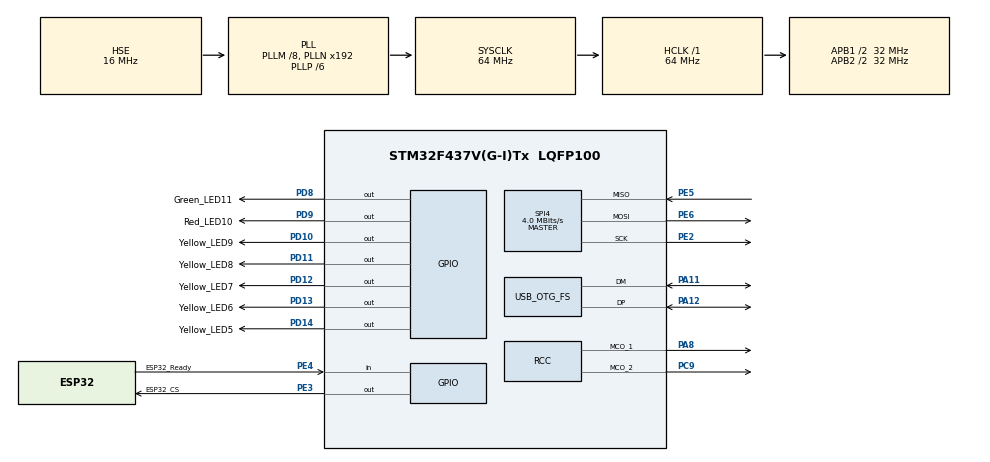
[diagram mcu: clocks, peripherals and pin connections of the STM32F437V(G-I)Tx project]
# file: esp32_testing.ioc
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Mcu.Family=STM32F4
Mcu.Name=STM32F437V(G-I)Tx
Mcu.Package=LQFP100
NVIC.PriorityGroup=NVIC_PRIORITYGROUP_4
NVIC.SPI4_IRQn=true\:0\:0\:false\:false\:true\:true\:true\:true
PA11.Mode=Device_Only
PA11.Signal=USB_OTG_FS_DM
PA12.Mode=Device_Only
PA12.Signal=USB_OTG_FS_DP
PA13.Mode=Trace_Asynchronous_SW
PA13.Signal=SYS_JTMS-SWDIO
PA14.Mode=Trace_Asynchronous_SW
PA14.Signal=SYS_JTCK-SWCLK
PA8.Mode=Clock-out-1
PA8.Signal=RCC_MCO_1
PB3.Mode=Trace_Asynchronous_SW
PB3.Signal=SYS_JTDO-SWO
PC9.Mode=Clock-out-2
PC9.Signal=RCC_MCO_2
PD10.GPIO_Label=Yellow_LED9
PD10.Signal=GPIO_Output
PD11.GPIO_Label=Yellow_LED8
PD11.Signal=GPIO_Output
PD12.GPIO_Label=Yellow_LED7
PD12.Signal=GPIO_Output
PD13.GPIO_Label=Yellow_LED6
PD13.Signal=GPIO_Output
PD14.GPIO_Label=Yellow_LED5
PD14.Signal=GPIO_Output
PD8.GPIO_Label=Green_LED11
PD8.Signal=GPIO_Output
PD9.GPIO_Label=Red_LED10
PD9.Signal=GPIO_Output
PE2.Mode=Full_Duplex_Master
PE2.Signal=SPI4_SCK
PE3.GPIO_Label=ESP32_CS
PE3.GPIO_OutputLevel=GPIO_PIN_SET
PE3.Signal=GPIO_Output
PE4.GPIO_Label=ESP32_Ready
PE4.GPIO_PuPd=GPIO_PULLDOWN
PE4.Signal=GPIO_Input
PE5.Mode=Full_Duplex_Master
PE5.Signal=SPI4_MISO
PE6.Mode=Full_Duplex_Master
PE6.Signal=SPI4_MOSI
PH0/OSC_IN.Mode=HSE-External-Oscillator
PH0/OSC_IN.Signal=RCC_OSC_IN
PH1/OSC_OUT.Mode=HSE-External-Oscillator
PH1/OSC_OUT.Signal=RCC_OSC_OUT
ProjectManager.HeapSize=0x200
ProjectManager.StackSize=0x400
ProjectManager.TargetToolchain=STM32CubeIDE
RCC.48MHZClocksFreq_Value=48000000
RCC.AHBFreq_Value=64000000
RCC.APB1CLKDivider=RCC_HCLK_DIV2
RCC.APB1Freq_Value=32000000
RCC.APB1TimFreq_Value=64000000
RCC.APB2CLKDivider=RCC_HCLK_DIV2
RCC.APB2Freq_Value=32000000
RCC.APB2TimFreq_Value=64000000
RCC.CortexFreq_Value=64000000
RCC.EnbaleCSS=true
RCC.HCLKFreq_Value=64000000
RCC.HSE_VALUE=16000000
RCC.HSI_VALUE=16000000
RCC.LSE_VALUE=32768
RCC.PLLM=8
RCC.PLLP=RCC_PLLP_DIV6
RCC.PLLQ=8
RCC.RCC_MCO1Source=RCC_MCO1SOURCE_HSE
RCC.RCC_MCODiv2=RCC_MCODIV_4
RCC.SYSCLKFreq_VALUE=64000000
RCC.SYSCLKSource=RCC_SYSCLKSOURCE_PLLCLK
RCC.VCOOutputFreq_Value=384000000
SPI4.BaudRatePrescaler=SPI_BAUDRATEPRESCALER_8
SPI4.CalculateBaudRate=4.0 MBits/s
SPI4.Direction=SPI_DIRECTION_2LINES
SPI4.Mode=SPI_MODE_MASTER
SPI4.VirtualType=VM_MASTER
USB_OTG_FS.VirtualMode=Device_Only
board=custom

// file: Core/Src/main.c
/* USER CODE BEGIN Header */
/**
  ******************************************************************************
  * @file           : main.c
  * @brief          : Main program body
  ******************************************************************************
  * @attention
  *
  * Copyright (c) 2026 STMicroelectronics.
  * All rights reserved.
  *
  * This software is licensed under terms that can be found in the LICENSE file
  * in the root directory of this software component.
  * If no LICENSE file comes with this software, it is provided AS-IS.
  *
  ******************************************************************************
  */
/* USER CODE END Header */
#include "main.h"

/* USER CODE BEGIN Includes */
#include <stdio.h>

#include "telemetry_protocol.h"

/* USER CODE END Includes */

/* USER CODE BEGIN PD */
#define ESP32_READY_TIMEOUT_MS  500U
#define ESP32_SPI_TIMEOUT_MS    100U
#define ESP32_PASS_INTERVAL_MS  250U
#define ESP32_FAIL_BLINK_MS     100U

/* The board LEDs are wired active-low. */
#define LED_ON_STATE            GPIO_PIN_RESET
#define LED_OFF_STATE           GPIO_PIN_SET

/* USER CODE END PD */

SPI_HandleTypeDef hspi4;

PCD_HandleTypeDef hpcd_USB_OTG_FS;

/* USER CODE BEGIN PV */
/* These values can be watched live in the STM32CubeIDE debugger. */
volatile int32_t esp32_last_result = -1;
volatile uint32_t esp32_ping_pass_count = 0;
volatile uint32_t esp32_ping_fail_count = 0;
volatile uint32_t esp32_consecutive_passes = 0;
volatile uint32_t esp32_last_hal_spi_error = 0;
volatile uint8_t esp32_last_slave_status = 0xFFU;
volatile uint8_t esp32_last_request[TELEMETRY_FRAME_SIZE];
volatile uint8_t esp32_last_response[TELEMETRY_FRAME_SIZE];

static uint8_t esp32_sequence = 0;
static uint32_t esp32_ping_number = 0;

/* USER CODE END PV */

void SystemClock_Config(void);
static void MX_GPIO_Init(void);
static void MX_SPI4_Init(void);
static void MX_USB_OTG_FS_PCD_Init(void);
/* USER CODE BEGIN PFP */
static int32_t ESP32_PingTest(void);
static void ITM_PrintTestResult(void);

/* USER CODE END PFP */

/* USER CODE BEGIN 0 */
enum esp32_test_result {
  ESP32_TEST_OK = 0,
  ESP32_TEST_REQUEST_READY_TIMEOUT = -1,
  ESP32_TEST_REQUEST_SPI_ERROR = -2,
  ESP32_TEST_RESPONSE_READY_TIMEOUT = -3,
  ESP32_TEST_RESPONSE_SPI_ERROR = -4,
  ESP32_TEST_BAD_RESPONSE_FRAME = -5,
  ESP32_TEST_BAD_RESPONSE_COMMAND = -6,
  ESP32_TEST_BAD_RESPONSE_SEQUENCE = -7,
  ESP32_TEST_SLAVE_REPORTED_ERROR = -8,
  ESP32_TEST_BAD_ECHO_LENGTH = -9,
  ESP32_TEST_BAD_ECHO_DATA = -10,
  ESP32_TEST_REQUEST_READY_STUCK_HIGH = -11,
  ESP32_TEST_RESPONSE_READY_STUCK_HIGH = -12,
};

enum esp32_exchange_result {
  ESP32_EXCHANGE_OK = 0,
  ESP32_EXCHANGE_READY_TIMEOUT = -1,
  ESP32_EXCHANGE_SPI_ERROR = -2,
  ESP32_EXCHANGE_READY_STUCK_HIGH = -3,
};

/* Newlib's _write() calls this function. CMSIS drops the character without
   blocking when ITM stimulus port 0 is not enabled by the debugger. */
int __io_putchar(int ch)
{
  (void)ITM_SendChar((uint32_t)(uint8_t)ch);
  return ch;
}

static void ITM_PrintFrame(const char *label,
                           const volatile uint8_t frame[TELEMETRY_FRAME_SIZE])
{
  printf("%s=", label);
  for (uint32_t i = 0; i < TELEMETRY_FRAME_SIZE; ++i) {
    printf("%02X", (unsigned int)frame[i]);
    if ((i + 1U) != TELEMETRY_FRAME_SIZE) {
      putchar(' ');
    }
  }
  printf("\r\n");
}

static void ITM_PrintTestResult(void)
{
  printf("[SPI] test=%lu result=%ld pass=%lu fail=%lu ready=%u "
         "tx_seq=%u rx_seq=%u status=%u\r\n",
         (unsigned long)esp32_ping_number,
         (long)esp32_last_result,
         (unsigned long)esp32_ping_pass_count,
         (unsigned long)esp32_ping_fail_count,
         (unsigned int)HAL_GPIO_ReadPin(ESP32_Ready_GPIO_Port,
                                        ESP32_Ready_Pin),
         (unsigned int)esp32_last_request[TELEMETRY_OFFSET_SEQUENCE],
         (unsigned int)esp32_last_response[TELEMETRY_OFFSET_SEQUENCE],
         (unsigned int)esp32_last_slave_status);
  ITM_PrintFrame("TX", esp32_last_request);
  ITM_PrintFrame("RX", esp32_last_response);
}

static int32_t ESP32_WaitReady(uint32_t timeout_ms)
{
  const uint32_t start = HAL_GetTick();

  while (HAL_GPIO_ReadPin(ESP32_Ready_GPIO_Port, ESP32_Ready_Pin) ==
         GPIO_PIN_RESET) {
    if ((HAL_GetTick() - start) >= timeout_ms) {
      return ESP32_EXCHANGE_READY_TIMEOUT;
    }
  }

  return ESP32_EXCHANGE_OK;
}

static int32_t ESP32_WaitReadyLow(uint32_t timeout_ms)
{
  const uint32_t start = HAL_GetTick();

  /* The ESP32 post-transaction callback pulls READY low. Observing this edge
     prevents a stale READY-high level from starting the next transfer early. */
  while (HAL_GPIO_ReadPin(ESP32_Ready_GPIO_Port, ESP32_Ready_Pin) ==
         GPIO_PIN_SET) {
    if ((HAL_GetTick() - start) >= timeout_ms) {
      return ESP32_EXCHANGE_READY_STUCK_HIGH;
    }
  }

  return ESP32_EXCHANGE_OK;
}

static int32_t ESP32_ExchangeFrame(uint8_t tx[TELEMETRY_FRAME_SIZE],
                                   uint8_t rx[TELEMETRY_FRAME_SIZE])
{
  if (ESP32_WaitReady(ESP32_READY_TIMEOUT_MS) != ESP32_EXCHANGE_OK) {
    return ESP32_EXCHANGE_READY_TIMEOUT;
  }

  HAL_GPIO_WritePin(ESP32_CS_GPIO_Port, ESP32_CS_Pin, GPIO_PIN_RESET);
  const HAL_StatusTypeDef status =
      HAL_SPI_TransmitReceive(&hspi4, tx, rx, TELEMETRY_FRAME_SIZE,
                              ESP32_SPI_TIMEOUT_MS);
  HAL_GPIO_WritePin(ESP32_CS_GPIO_Port, ESP32_CS_Pin, GPIO_PIN_SET);

  if (status != HAL_OK) {
    esp32_last_hal_spi_error = HAL_SPI_GetError(&hspi4);
    return ESP32_EXCHANGE_SPI_ERROR;
  }
  if (ESP32_WaitReadyLow(ESP32_READY_TIMEOUT_MS) != ESP32_EXCHANGE_OK) {
    return ESP32_EXCHANGE_READY_STUCK_HIGH;
  }

  return ESP32_EXCHANGE_OK;
}

static int32_t ESP32_RPC(uint8_t command, const uint8_t *payload,
                         uint8_t payload_length,
                         uint8_t response[TELEMETRY_FRAME_SIZE])
{
  uint8_t request[TELEMETRY_FRAME_SIZE];
  uint8_t ignored[TELEMETRY_FRAME_SIZE];
  uint8_t nop[TELEMETRY_FRAME_SIZE];
  const uint8_t request_sequence = ++esp32_sequence;

  telemetry_frame_build(request, command, request_sequence,
                        TELEMETRY_STATUS_OK, payload, payload_length);

  for (uint32_t i = 0; i < TELEMETRY_FRAME_SIZE; ++i) {
    esp32_last_request[i] = request[i];
    esp32_last_response[i] = 0U;
  }
  esp32_last_slave_status = 0xFFU;

  int32_t result = ESP32_ExchangeFrame(request, ignored);
  if (result == ESP32_EXCHANGE_READY_TIMEOUT) {
    return ESP32_TEST_REQUEST_READY_TIMEOUT;
  }
  if (result == ESP32_EXCHANGE_SPI_ERROR) {
    return ESP32_TEST_REQUEST_SPI_ERROR;
  }
  if (result == ESP32_EXCHANGE_READY_STUCK_HIGH) {
    return ESP32_TEST_REQUEST_READY_STUCK_HIGH;
  }

  /* The slave processes a request after CS rises, so clock the response out
     with a second, valid NOP transaction. */
  telemetry_frame_build(nop, TELEMETRY_CMD_NOP, ++esp32_sequence,
                        TELEMETRY_STATUS_OK, NULL, 0);
  result = ESP32_ExchangeFrame(nop, response);
  if (result == ESP32_EXCHANGE_READY_TIMEOUT) {
    return ESP32_TEST_RESPONSE_READY_TIMEOUT;
  }
  if (result == ESP32_EXCHANGE_SPI_ERROR) {
    return ESP32_TEST_RESPONSE_SPI_ERROR;
  }
  if (result == ESP32_EXCHANGE_READY_STUCK_HIGH) {
    return ESP32_TEST_RESPONSE_READY_STUCK_HIGH;
  }

  for (uint32_t i = 0; i < TELEMETRY_FRAME_SIZE; ++i) {
    esp32_last_response[i] = response[i];
  }

  if (telemetry_frame_validate(response) != TELEMETRY_STATUS_OK) {
    return ESP32_TEST_BAD_RESPONSE_FRAME;
  }
  if (response[TELEMETRY_OFFSET_COMMAND] !=
      (uint8_t)(command | TELEMETRY_RESPONSE_BIT)) {
    return ESP32_TEST_BAD_RESPONSE_COMMAND;
  }
  if (response[TELEMETRY_OFFSET_SEQUENCE] != request_sequence) {
    return ESP32_TEST_BAD_RESPONSE_SEQUENCE;
  }

  esp32_last_slave_status = response[TELEMETRY_OFFSET_STATUS];
  if (esp32_last_slave_status != TELEMETRY_STATUS_OK) {
    return ESP32_TEST_SLAVE_REPORTED_ERROR;
  }

  return ESP32_TEST_OK;
}

static int32_t ESP32_PingTest(void)
{
  uint8_t pattern[TELEMETRY_PAYLOAD_SIZE];
  uint8_t response[TELEMETRY_FRAME_SIZE];

  /* A changing, full-size pattern exercises every MOSI and MISO data byte. */
  ++esp32_ping_number;
  for (uint32_t i = 0; i < TELEMETRY_PAYLOAD_SIZE; ++i) {
    pattern[i] = (uint8_t)(esp32_ping_number + (i * 37U));
  }

  int32_t result = ESP32_RPC(TELEMETRY_CMD_PING, pattern,
                             (uint8_t)sizeof(pattern), response);
  if (result != ESP32_TEST_OK) {
    return result;
  }
  if (response[TELEMETRY_OFFSET_LENGTH] != sizeof(pattern)) {
    return ESP32_TEST_BAD_ECHO_LENGTH;
  }
  if (memcmp(&response[TELEMETRY_OFFSET_PAYLOAD], pattern,
             sizeof(pattern)) != 0) {
    return ESP32_TEST_BAD_ECHO_DATA;
  }

  return ESP32_TEST_OK;
}

/* USER CODE END 0 */

int main(void)
{

  /* MCU Configuration--------------------------------------------------------*/

  /* Reset of all peripherals, Initializes the Flash interface and the Systick. */
  HAL_Init();

  /* Configure the system clock */
  SystemClock_Config();

  /* Initialize all configured peripherals */
  MX_GPIO_Init();
  MX_SPI4_Init();
  MX_USB_OTG_FS_PCD_Init();
  /* USER CODE BEGIN 2 */
  /* CS is active-low and must be high whenever no transaction is running. */
  HAL_GPIO_WritePin(ESP32_CS_GPIO_Port, ESP32_CS_Pin, GPIO_PIN_SET);

  /* CubeMX initializes these active-low LEDs low, so turn all of them off. */
  HAL_GPIO_WritePin(GPIOD,
                    Green_LED11_Pin | Red_LED10_Pin | Yellow_LED9_Pin |
                    Yellow_LED8_Pin | Yellow_LED7_Pin | Yellow_LED6_Pin |
                    Yellow_LED5_Pin,
                    LED_OFF_STATE);

  setvbuf(stdout, NULL, _IONBF, 0);
  printf("\r\n[BOOT] ESP32 SPI test; SWV ITM port 0; core clock=%lu Hz\r\n",
         (unsigned long)HAL_RCC_GetHCLKFreq());

  /* USER CODE END 2 */

  /* Infinite loop */
  while (1)
  {

    /* USER CODE BEGIN 3 */
    esp32_last_result = ESP32_PingTest();

    if (esp32_last_result == ESP32_TEST_OK) {
      ++esp32_ping_pass_count;
      ++esp32_consecutive_passes;
      HAL_GPIO_WritePin(Yellow_LED9_GPIO_Port, Yellow_LED9_Pin, LED_ON_STATE);
      ITM_PrintTestResult();
      HAL_Delay(ESP32_PASS_INTERVAL_MS);
    } else {
      ++esp32_ping_fail_count;
      esp32_consecutive_passes = 0;
      HAL_GPIO_TogglePin(Yellow_LED9_GPIO_Port, Yellow_LED9_Pin);
      ITM_PrintTestResult();
      HAL_Delay(ESP32_FAIL_BLINK_MS);
    }
  }
  /* USER CODE END 3 */
}

void SystemClock_Config(void)
{
  RCC_OscInitTypeDef RCC_OscInitStruct = {0};
  RCC_ClkInitTypeDef RCC_ClkInitStruct = {0};

  /** Configure the main internal regulator output voltage
  */
  __HAL_RCC_PWR_CLK_ENABLE();
  __HAL_PWR_VOLTAGESCALING_CONFIG(PWR_REGULATOR_VOLTAGE_SCALE3);

  /** Initializes the RCC Oscillators according to the specified parameters
  * in the RCC_OscInitTypeDef structure.
  */
  RCC_OscInitStruct.OscillatorType = RCC_OSCILLATORTYPE_HSE;
  RCC_OscInitStruct.HSEState = RCC_HSE_ON;
  RCC_OscInitStruct.PLL.PLLState = RCC_PLL_ON;
  RCC_OscInitStruct.PLL.PLLSource = RCC_PLLSOURCE_HSE;
  RCC_OscInitStruct.PLL.PLLM = 8;
  RCC_OscInitStruct.PLL.PLLN = 192;
  RCC_OscInitStruct.PLL.PLLP = RCC_PLLP_DIV6;
  RCC_OscInitStruct.PLL.PLLQ = 8;
  if (HAL_RCC_OscConfig(&RCC_OscInitStruct) != HAL_OK)
  {
    Error_Handler();
  }

  /** Initializes the CPU, AHB and APB buses clocks
  */
  RCC_ClkInitStruct.ClockType = RCC_CLOCKTYPE_HCLK|RCC_CLOCKTYPE_SYSCLK
                              |RCC_CLOCKTYPE_PCLK1|RCC_CLOCKTYPE_PCLK2;
  RCC_ClkInitStruct.SYSCLKSource = RCC_SYSCLKSOURCE_PLLCLK;
  RCC_ClkInitStruct.AHBCLKDivider = RCC_SYSCLK_DIV1;
  RCC_ClkInitStruct.APB1CLKDivider = RCC_HCLK_DIV2;
  RCC_ClkInitStruct.APB2CLKDivider = RCC_HCLK_DIV2;

  if (HAL_RCC_ClockConfig(&RCC_ClkInitStruct, FLASH_LATENCY_2) != HAL_OK)
  {
    Error_Handler();
  }
  HAL_RCC_MCOConfig(RCC_MCO1, RCC_MCO1SOURCE_HSE, RCC_MCODIV_1);
  HAL_RCC_MCOConfig(RCC_MCO2, RCC_MCO2SOURCE_SYSCLK, RCC_MCODIV_4);

  /** Enables the Clock Security System
  */
  HAL_RCC_EnableCSS();
}

static void MX_SPI4_Init(void)
{

  /* SPI4 parameter configuration*/
  hspi4.Instance = SPI4;
  hspi4.Init.Mode = SPI_MODE_MASTER;
  hspi4.Init.Direction = SPI_DIRECTION_2LINES;
  hspi4.Init.DataSize = SPI_DATASIZE_8BIT;
  hspi4.Init.CLKPolarity = SPI_POLARITY_LOW;
  hspi4.Init.CLKPhase = SPI_PHASE_1EDGE;
  hspi4.Init.NSS = SPI_NSS_SOFT;
  hspi4.Init.BaudRatePrescaler = SPI_BAUDRATEPRESCALER_8;
  hspi4.Init.FirstBit = SPI_FIRSTBIT_MSB;
  hspi4.Init.TIMode = SPI_TIMODE_DISABLE;
  hspi4.Init.CRCCalculation = SPI_CRCCALCULATION_DISABLE;
  hspi4.Init.CRCPolynomial = 10;
  if (HAL_SPI_Init(&hspi4) != HAL_OK)
  {
    Error_Handler();
  }

}

static void MX_USB_OTG_FS_PCD_Init(void)
{

  hpcd_USB_OTG_FS.Instance = USB_OTG_FS;
  hpcd_USB_OTG_FS.Init.dev_endpoints = 4;
  hpcd_USB_OTG_FS.Init.speed = PCD_SPEED_FULL;
  hpcd_USB_OTG_FS.Init.dma_enable = DISABLE;
  hpcd_USB_OTG_FS.Init.phy_itface = PCD_PHY_EMBEDDED;
  hpcd_USB_OTG_FS.Init.Sof_enable = DISABLE;
  hpcd_USB_OTG_FS.Init.low_power_enable = DISABLE;
  hpcd_USB_OTG_FS.Init.lpm_enable = DISABLE;
  hpcd_USB_OTG_FS.Init.vbus_sensing_enable = DISABLE;
  hpcd_USB_OTG_FS.Init.use_dedicated_ep1 = DISABLE;
  if (HAL_PCD_Init(&hpcd_USB_OTG_FS) != HAL_OK)
  {
    Error_Handler();
  }

}

static void MX_GPIO_Init(void)
{
  GPIO_InitTypeDef GPIO_InitStruct = {0};

  /* GPIO Ports Clock Enable */
  __HAL_RCC_GPIOE_CLK_ENABLE();
  __HAL_RCC_GPIOH_CLK_ENABLE();
  __HAL_RCC_GPIOD_CLK_ENABLE();
  __HAL_RCC_GPIOC_CLK_ENABLE();
  __HAL_RCC_GPIOA_CLK_ENABLE();
  __HAL_RCC_GPIOB_CLK_ENABLE();

  /*Configure GPIO pin Output Level */
  HAL_GPIO_WritePin(ESP32_CS_GPIO_Port, ESP32_CS_Pin, GPIO_PIN_SET);

  /*Configure GPIO pin Output Level */
  HAL_GPIO_WritePin(GPIOD, Green_LED11_Pin|Red_LED10_Pin|Yellow_LED9_Pin|Yellow_LED8_Pin
                          |Yellow_LED7_Pin|Yellow_LED6_Pin|Yellow_LED5_Pin, GPIO_PIN_RESET);

  /*Configure GPIO pin : ESP32_CS_Pin */
  GPIO_InitStruct.Pin = ESP32_CS_Pin;
  GPIO_InitStruct.Mode = GPIO_MODE_OUTPUT_PP;
  GPIO_InitStruct.Pull = GPIO_NOPULL;
  GPIO_InitStruct.Speed = GPIO_SPEED_FREQ_LOW;
  HAL_GPIO_Init(ESP32_CS_GPIO_Port, &GPIO_InitStruct);

  /*Configure GPIO pin : ESP32_Ready_Pin */
  GPIO_InitStruct.Pin = ESP32_Ready_Pin;
  GPIO_InitStruct.Mode = GPIO_MODE_INPUT;
  GPIO_InitStruct.Pull = GPIO_PULLDOWN;
  HAL_GPIO_Init(ESP32_Ready_GPIO_Port, &GPIO_InitStruct);

  /*Configure GPIO pins : Green_LED11_Pin Red_LED10_Pin Yellow_LED9_Pin Yellow_LED8_Pin
                           Yellow_LED7_Pin Yellow_LED6_Pin Yellow_LED5_Pin */
  GPIO_InitStruct.Pin = Green_LED11_Pin|Red_LED10_Pin|Yellow_LED9_Pin|Yellow_LED8_Pin
                          |Yellow_LED7_Pin|Yellow_LED6_Pin|Yellow_LED5_Pin;
  GPIO_InitStruct.Mode = GPIO_MODE_OUTPUT_PP;
  GPIO_InitStruct.Pull = GPIO_NOPULL;
  GPIO_InitStruct.Speed = GPIO_SPEED_FREQ_LOW;
  HAL_GPIO_Init(GPIOD, &GPIO_InitStruct);

  /*Configure GPIO pin : PC9 */
  GPIO_InitStruct.Pin = GPIO_PIN_9;
  GPIO_InitStruct.Mode = GPIO_MODE_AF_PP;
  GPIO_InitStruct.Pull = GPIO_NOPULL;
  GPIO_InitStruct.Speed = GPIO_SPEED_FREQ_LOW;
  GPIO_InitStruct.Alternate = GPIO_AF0_MCO;
  HAL_GPIO_Init(GPIOC, &GPIO_InitStruct);

  /*Configure GPIO pin : PA8 */
  GPIO_InitStruct.Pin = GPIO_PIN_8;
  GPIO_InitStruct.Mode = GPIO_MODE_AF_PP;
  GPIO_InitStruct.Pull = GPIO_NOPULL;
  GPIO_InitStruct.Speed = GPIO_SPEED_FREQ_LOW;
  GPIO_InitStruct.Alternate = GPIO_AF0_MCO;
  HAL_GPIO_Init(GPIOA, &GPIO_InitStruct);

}

void Error_Handler(void)
{
  __disable_irq();
  while (1)
  {
  }
}
